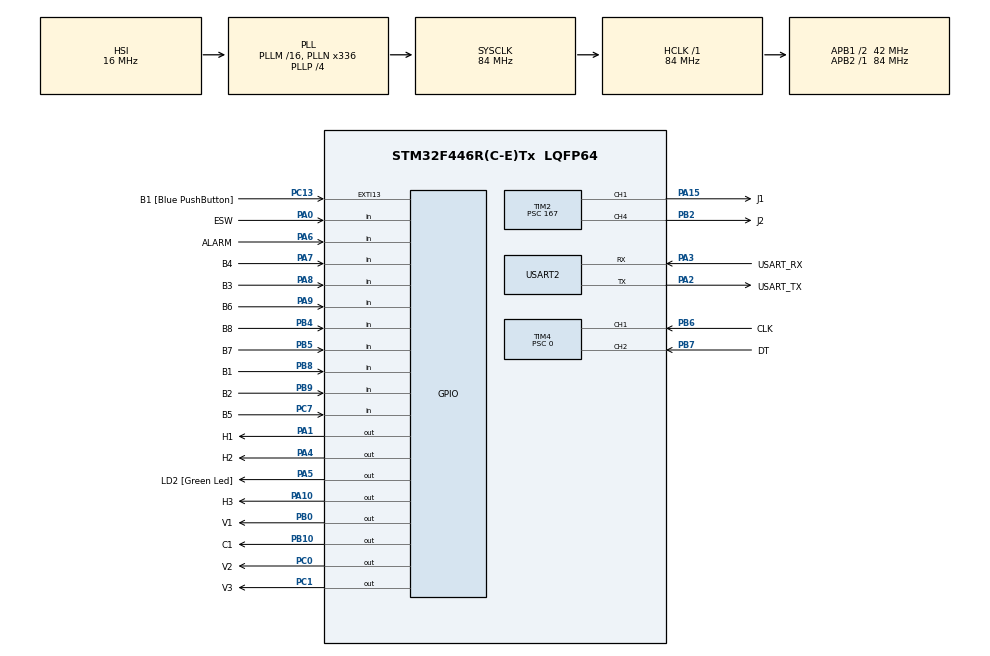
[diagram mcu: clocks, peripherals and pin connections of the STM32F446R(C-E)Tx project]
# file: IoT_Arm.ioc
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Mcu.Family=STM32F4
Mcu.Name=STM32F446R(C-E)Tx
Mcu.Package=LQFP64
NVIC.PriorityGroup=NVIC_PRIORITYGROUP_2
NVIC.TIM1_TRG_COM_TIM11_IRQn=true\:2\:0\:true\:false\:true\:true\:true
NVIC.TIM1_UP_TIM10_IRQn=true\:1\:0\:true\:false\:true\:true\:true
NVIC.USART2_IRQn=true\:0\:0\:true\:false\:true\:true\:true
PA0-WKUP.GPIO_Label=ESW
PA0-WKUP.GPIO_PuPd=GPIO_PULLUP
PA0-WKUP.Signal=GPIO_Input
PA1.GPIO_Label=H1
PA1.GPIO_Speed=GPIO_SPEED_FREQ_VERY_HIGH
PA1.Signal=GPIO_Output
PA10.GPIO_Label=H3
PA10.GPIO_Speed=GPIO_SPEED_FREQ_VERY_HIGH
PA10.Signal=GPIO_Output
PA13.GPIO_Label=TMS
PA13.Mode=Serial_Wire
PA13.Signal=SYS_JTMS-SWDIO
PA14.GPIO_Label=TCK
PA14.Mode=Serial_Wire
PA14.Signal=SYS_JTCK-SWCLK
PA15.GPIO_Label=J1
PA15.Signal=S_TIM2_CH1_ETR
PA2.GPIO_Label=USART_TX
PA2.Mode=Asynchronous
PA2.Signal=USART2_TX
PA3.GPIO_Label=USART_RX
PA3.Mode=Asynchronous
PA3.Signal=USART2_RX
PA4.GPIO_Label=H2
PA4.GPIO_Speed=GPIO_SPEED_FREQ_VERY_HIGH
PA4.Signal=GPIO_Output
PA5.GPIO_Label=LD2 [Green Led]
PA5.Signal=GPIO_Output
PA6.GPIO_Label=ALARM
PA6.GPIO_PuPd=GPIO_NOPULL
PA6.Signal=GPIO_Input
PA7.GPIO_Label=B4
PA7.GPIO_PuPd=GPIO_PULLDOWN
PA7.Signal=GPIO_Input
PA8.GPIO_Label=B3
PA8.GPIO_PuPd=GPIO_PULLDOWN
PA8.Signal=GPIO_Input
PA9.GPIO_Label=B6
PA9.GPIO_PuPd=GPIO_PULLDOWN
PA9.Signal=GPIO_Input
PB0.GPIO_Label=V1
PB0.GPIO_Speed=GPIO_SPEED_FREQ_VERY_HIGH
PB0.PinState=GPIO_PIN_RESET
PB0.Signal=GPIO_Output
PB10.GPIO_Label=C1
PB10.GPIO_ModeDefaultOutputPP=GPIO_MODE_OUTPUT_OD
PB10.Signal=GPIO_Output
PB2.GPIO_Label=J2
PB2.Signal=S_TIM2_CH4
PB3.GPIO_Label=SWO
PB3.Signal=SYS_JTDO-SWO
PB4.GPIO_Label=B8
PB4.GPIO_PuPd=GPIO_PULLDOWN
PB4.Signal=GPIO_Input
PB5.GPIO_Label=B7
PB5.GPIO_PuPd=GPIO_PULLDOWN
PB5.Signal=GPIO_Input
PB6.GPIO_Label=CLK
PB6.Signal=S_TIM4_CH1
PB7.GPIO_Label=DT
PB7.Signal=S_TIM4_CH2
PB8.GPIO_Label=B1
PB8.GPIO_PuPd=GPIO_PULLDOWN
PB8.Signal=GPIO_Input
PB9.GPIO_Label=B2
PB9.GPIO_PuPd=GPIO_PULLDOWN
PB9.Signal=GPIO_Input
PC0.GPIO_Label=V2
PC0.GPIO_Speed=GPIO_SPEED_FREQ_VERY_HIGH
PC0.PinState=GPIO_PIN_RESET
PC0.Signal=GPIO_Output
PC1.GPIO_Label=V3
PC1.GPIO_Speed=GPIO_SPEED_FREQ_VERY_HIGH
PC1.PinState=GPIO_PIN_RESET
PC1.Signal=GPIO_Output
PC13.GPIO_Label=B1 [Blue PushButton]
PC13.GPIO_ModeDefaultEXTI=GPIO_MODE_IT_FALLING
PC13.Signal=GPXTI13
PC14-OSC32_IN.Mode=LSE-External-Oscillator
PC14-OSC32_IN.Signal=RCC_OSC32_IN
PC15-OSC32_OUT.Mode=LSE-External-Oscillator
PC15-OSC32_OUT.Signal=RCC_OSC32_OUT
PC7.GPIO_Label=B5
PC7.GPIO_PuPd=GPIO_PULLDOWN
PC7.Signal=GPIO_Input
PH0-OSC_IN.Mode=HSE-External-Oscillator
PH0-OSC_IN.Signal=RCC_OSC_IN
PH1-OSC_OUT.Mode=HSE-External-Oscillator
PH1-OSC_OUT.Signal=RCC_OSC_OUT
ProjectManager.HeapSize=0x200
ProjectManager.StackSize=0x400
ProjectManager.TargetToolchain=TrueSTUDIO
RCC.48MHZClocksFreq_Value=84000000
RCC.AHBFreq_Value=84000000
RCC.APB1CLKDivider=RCC_HCLK_DIV2
RCC.APB1Freq_Value=42000000
RCC.APB1TimFreq_Value=84000000
RCC.APB2Freq_Value=84000000
RCC.APB2TimFreq_Value=84000000
RCC.CortexFreq_Value=84000000
RCC.FLatency-AdvancedSettings=FLASH_LATENCY_2
RCC.HCLKFreq_Value=84000000
RCC.HSE_VALUE=8000000
RCC.HSI_VALUE=16000000
RCC.PLLN=336
RCC.PLLP=RCC_PLLP_DIV4
RCC.SYSCLKFreq_VALUE=84000000
RCC.SYSCLKSource=RCC_SYSCLKSOURCE_PLLCLK
RCC.USBFreq_Value=168000000
RCC.VCOOutputFreq_Value=336000000
SH.S_TIM2_CH1_ETR.0=TIM2_CH1,PWM Generation1 CH1
SH.S_TIM2_CH4.0=TIM2_CH4,PWM Generation4 CH4
SH.S_TIM4_CH1.0=TIM4_CH1,Encoder_Interface
SH.S_TIM4_CH2.0=TIM4_CH2,Encoder_Interface
TIM10.Period=9999
TIM10.Prescaler=9
TIM11.Period=9999
TIM11.Prescaler=999
TIM2.Channel-PWM\ Generation1\ CH1=TIM_CHANNEL_1
TIM2.Channel-PWM\ Generation4\ CH4=TIM_CHANNEL_4
TIM2.Period=9999
TIM2.Prescaler=167
TIM4.Period=499
TIM4.Prescaler=0
USART2.VirtualMode=VM_ASYNC
VP_TIM10_VS_ClockSourceINT.Mode=Enable_Timer
VP_TIM11_VS_ClockSourceINT.Mode=Enable_Timer
board=NUCLEO-F446RE

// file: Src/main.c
/* USER CODE BEGIN Header */
/**
  ******************************************************************************
  * @file           : main.c
  * @brief          : Main program body
  ******************************************************************************
  * @attention
  *
  * <h2><center>&copy; Copyright (c) 2020 STMicroelectronics.
  * All rights reserved.</center></h2>
  *
  * This software component is licensed by ST under BSD 3-Clause license,
  * the "License"; You may not use this file except in compliance with the
  * License. You may obtain a copy of the License at:
  *                        opensource.org/licenses/BSD-3-Clause
  *
  ******************************************************************************
  */
/* USER CODE END Header */

#include "main.h"
#include "tim.h"
#include "usart.h"
#include "gpio.h"

/* USER CODE BEGIN Includes */
#include <stdio.h>
/* USER CODE END Includes */

/* USER CODE BEGIN PD */
#define H1 GPIO_PIN_1//no GPIOA
#define H2 GPIO_PIN_4//no GPIOA
#define H3 GPIO_PIN_10//no GPIOA
#define V1 GPIO_PIN_0//no GPIOB
#define V2 GPIO_PIN_0//no GPIOC
#define V3 GPIO_PIN_1//no GPIOC
#define C1 GPIO_PIN_10//no GPIOB

#define B1 GPIO_PIN_8//no GPIOB
#define B2 GPIO_PIN_9//no GPIOB
#define B3 GPIO_PIN_8//no GPIOA
#define B4 GPIO_PIN_7//no GPIOA
#define B5 GPIO_PIN_7//no GPIOC
#define B6 GPIO_PIN_9//no GPIOA
#define B7 GPIO_PIN_5//no GPIOB
#define B8 GPIO_PIN_4//no GPIOB
#define ALARM GPIO_PIN_6//no GPIOA

#define ESW GPIO_PIN_0//no GPIOA

#define J1 GPIO_PIN_15//no GPIOA
#define J2 GPIO_PIN_2//no GPIOB

#define JANELA_FECHADA 900
#define JANELA_ABERTA 500
/* USER CODE END PD */

/* USER CODE BEGIN PV */
int  l=0;
uint8_t pos=0, cool=0;
uint8_t lamps[6]={0,0,0,0,0,0}, ap[]={0,0,0,0,0,0,0,0,0,1}, janelas[]={0,0};
uint8_t lastEnc=0, Enc=0, temperatura=30, tempmedida, tstring[2]="  ";
uint8_t MSG[10] = {};

uint8_t rcv[10]="         \n";
uint8_t rx, j=0, g=0;
uint8_t intruder=0;

/* USER CODE END PV */

void SystemClock_Config(void);

int main(void)
{

  /* MCU Configuration--------------------------------------------------------*/

  /* Reset of all peripherals, Initializes the Flash interface and the Systick. */
  HAL_Init();

  /* Configure the system clock */
  SystemClock_Config();

  /* Initialize all configured peripherals */
  MX_GPIO_Init();
  MX_TIM4_Init();
  MX_USART2_UART_Init();
  MX_TIM10_Init();
  MX_TIM11_Init();
  MX_TIM2_Init();
  /* USER CODE BEGIN 2 */
  HAL_GPIO_WritePin(GPIOA, H1, GPIO_PIN_RESET);
  HAL_GPIO_WritePin(GPIOA, H2, GPIO_PIN_RESET);
  HAL_GPIO_WritePin(GPIOA, H3, GPIO_PIN_RESET);
  HAL_GPIO_WritePin(GPIOB, V1, GPIO_PIN_RESET);
  HAL_GPIO_WritePin(GPIOC, V2, GPIO_PIN_RESET);
  HAL_GPIO_WritePin(GPIOC, V3, GPIO_PIN_RESET);
  HAL_GPIO_WritePin(GPIOB, C1, GPIO_PIN_RESET);
  snprintf(MSG, sizeof(MSG), "sta     \n");//informa ao sistema que foi reiniciado
  HAL_UART_Transmit(&huart2, MSG, sizeof(MSG),100);

  HAL_TIM_Base_Start_IT(&htim11);
  HAL_TIM_Base_Start_IT(&htim10);
  HAL_TIM_PWM_Start(&htim2, TIM_CHANNEL_1);
  HAL_TIM_PWM_Start(&htim2, TIM_CHANNEL_4);
  HAL_TIM_Encoder_Start(&htim4, TIM_CHANNEL_ALL);
  HAL_UART_Receive_IT(&huart2, &rx, 1);
  /* USER CODE END 2 */

  /* Infinite loop */
  while (1)
  {

  }
}

void SystemClock_Config(void)
{
  RCC_OscInitTypeDef RCC_OscInitStruct = {0};
  RCC_ClkInitTypeDef RCC_ClkInitStruct = {0};

  /** Configure the main internal regulator output voltage
  */
  __HAL_RCC_PWR_CLK_ENABLE();
  __HAL_PWR_VOLTAGESCALING_CONFIG(PWR_REGULATOR_VOLTAGE_SCALE3);
  /** Initializes the CPU, AHB and APB busses clocks
  */
  RCC_OscInitStruct.OscillatorType = RCC_OSCILLATORTYPE_HSI;
  RCC_OscInitStruct.HSIState = RCC_HSI_ON;
  RCC_OscInitStruct.HSICalibrationValue = RCC_HSICALIBRATION_DEFAULT;
  RCC_OscInitStruct.PLL.PLLState = RCC_PLL_ON;
  RCC_OscInitStruct.PLL.PLLSource = RCC_PLLSOURCE_HSI;
  RCC_OscInitStruct.PLL.PLLM = 16;
  RCC_OscInitStruct.PLL.PLLN = 336;
  RCC_OscInitStruct.PLL.PLLP = RCC_PLLP_DIV4;
  RCC_OscInitStruct.PLL.PLLQ = 2;
  RCC_OscInitStruct.PLL.PLLR = 2;
  if (HAL_RCC_OscConfig(&RCC_OscInitStruct) != HAL_OK)
  {
    Error_Handler();
  }
  /** Initializes the CPU, AHB and APB busses clocks
  */
  RCC_ClkInitStruct.ClockType = RCC_CLOCKTYPE_HCLK|RCC_CLOCKTYPE_SYSCLK
                              |RCC_CLOCKTYPE_PCLK1|RCC_CLOCKTYPE_PCLK2;
  RCC_ClkInitStruct.SYSCLKSource = RCC_SYSCLKSOURCE_PLLCLK;
  RCC_ClkInitStruct.AHBCLKDivider = RCC_SYSCLK_DIV1;
  RCC_ClkInitStruct.APB1CLKDivider = RCC_HCLK_DIV2;
  RCC_ClkInitStruct.APB2CLKDivider = RCC_HCLK_DIV1;

  if (HAL_RCC_ClockConfig(&RCC_ClkInitStruct, FLASH_LATENCY_2) != HAL_OK)
  {
    Error_Handler();
  }
}

/* USER CODE BEGIN 4 */
void conv_temp(){//converte o valor em caracteres da temperatura para um valor inteiro
	tempmedida=0;
	tempmedida+=(tstring[1]-48);
	tempmedida+=(tstring[0]-48)*10;
}
void HAL_UART_RxCpltCallback(UART_HandleTypeDef *huart){
	rcv[j]=rx;
	j++;
	if(j==10)j=0;
	if(rx==13){
		snprintf(rcv, sizeof(rcv), "          ");//"limpa" o vetor de recepção
		j=0;//zera a posição do vetor de recepção
	}

	if(rcv[0]=='l'){//para as lâmpadas
		if(rcv[6]=='0'||rcv[6]=='3'){
			for(g=0;g<7;g++){
				if(rcv[g+1]=='0')lamps[g]=0;
				if(rcv[g+1]=='3')lamps[g]=1;
			}
			snprintf(rcv, sizeof(rcv), "          ");//"limpa" o vetor de recepção
			j=0;//zera a posição do vetor de recepção
		}
	}
	if(rcv[0]=='j'){//para as janelas
		if(rcv[2]== '0'||rcv[2]=='1'){
			if(rcv[1]=='0')janelas[0]=0;
			if(rcv[1]=='1')janelas[0]=1;
			if(rcv[2]=='0')janelas[1]=0;
			if(rcv[2]=='1')janelas[1]=1;
			snprintf(rcv, sizeof(rcv), "          ");//"limpa" o vetor de recepção
			j=0;//zera a posição do vetor de recepção
		}
	}
	if(rcv[0]=='t'){//referente à temperatura
		if(rcv[1]>=48&&rcv[2]>=48){
			tstring[0]=rcv[1];
			tstring[1]=rcv[2];
			conv_temp();
			if(tempmedida>=temperatura){
				cool=1;//liga o cooler quando a temperatura medida é maior que a temperatura configurada
			}
			else if(tempmedida<temperatura){
				cool=0;
			}
			snprintf(rcv, sizeof(rcv), "          ");//"limpa" o vetor de recepção
			j=0;//zera a posição do vetor de recepção
		}
	}
	if(rcv[0]=='i'&&rcv[1]=='0'){//referente à segurança ou intruso
		intruder=0;
	}
	HAL_UART_Receive_IT(&huart2, &rx, 1);//reinicia a recepção de valores pela serial
}
void HAL_TIM_PeriodElapsedCallback(TIM_HandleTypeDef *htim){
	if(htim==&htim11 && intruder==0){
		if(HAL_GPIO_ReadPin (GPIOB, B1)&&ap[0]==0){
			lamps[0]=!lamps[0], ap[0]=1;
			if(lamps[0]==1)snprintf(MSG, sizeof(MSG), "l11     \n");//envia o estado da lâmpada
			if(lamps[0]==0)snprintf(MSG, sizeof(MSG), "l10     \n");
			HAL_UART_Transmit_IT(&huart2, MSG, sizeof(MSG));
		}
		if(!HAL_GPIO_ReadPin (GPIOB, B1))ap[0]=0;

		if(HAL_GPIO_ReadPin (GPIOB, B2)&&ap[1]==0){
			lamps[1]=!lamps[1], ap[1]=1;
			if(lamps[1]==1)snprintf(MSG, sizeof(MSG), "l21     \n");//envia o estado da lâmpada
			if(lamps[1]==0)snprintf(MSG, sizeof(MSG), "l20     \n");
			HAL_UART_Transmit_IT(&huart2, MSG, sizeof(MSG));
		}
		if(!HAL_GPIO_ReadPin (GPIOB, B2))ap[1]=0;

		if(HAL_GPIO_ReadPin (GPIOA, B3)&&ap[2]==0){
			lamps[2]=!lamps[2], ap[2]=1;
			if(lamps[2]==1)snprintf(MSG, sizeof(MSG), "l31     \n");//envia o estado da lâmpada
			if(lamps[2]==0)snprintf(MSG, sizeof(MSG), "l30     \n");
			HAL_UART_Transmit_IT(&huart2, MSG, sizeof(MSG));
		}
		if(!HAL_GPIO_ReadPin (GPIOA, B3))ap[2]=0;

		if(HAL_GPIO_ReadPin (GPIOA, B4)&&ap[3]==0){
			lamps[3]=!lamps[3], ap[3]=1;
			if(lamps[3]==1)snprintf(MSG, sizeof(MSG), "l41     \n");//envia o estado da lâmpada
			if(lamps[3]==0)snprintf(MSG, sizeof(MSG), "l40     \n");
			HAL_UART_Transmit_IT(&huart2, MSG, sizeof(MSG));
		}
		if(!HAL_GPIO_ReadPin (GPIOA, B4))ap[3]=0;

		if(HAL_GPIO_ReadPin (GPIOC, B5)&&ap[4]==0){
			lamps[4]=!lamps[4], ap[4]=1;
			if(lamps[4]==1)snprintf(MSG, sizeof(MSG), "l51     \n");//envia o estado da lâmpada
			if(lamps[4]==0)snprintf(MSG, sizeof(MSG), "l50     \n");
			HAL_UART_Transmit_IT(&huart2, MSG, sizeof(MSG));
		}
		if(!HAL_GPIO_ReadPin (GPIOC, B5)) ap[4]=0;

		if(HAL_GPIO_ReadPin (GPIOA, B6)&&ap[5]==0){
			lamps[5]=!lamps[5], ap[5]=1;
			if(lamps[5]==1)snprintf(MSG, sizeof(MSG), "l61     \n");//envia o estado da lâmpada
			if(lamps[5]==0)snprintf(MSG, sizeof(MSG), "l60     \n");
			HAL_UART_Transmit_IT(&huart2, MSG, sizeof(MSG));
		}
		if(!HAL_GPIO_ReadPin (GPIOA, B6))ap[5]=0;

		if(HAL_GPIO_ReadPin (GPIOB, B7)&&ap[6]==0){
			janelas[0]=!janelas[0], ap[6]=1;
			if(janelas[0]==1)snprintf(MSG, sizeof(MSG), "j11     \n");//envia o estado da janela
			if(janelas[0]==0)snprintf(MSG, sizeof(MSG), "j10     \n");
			HAL_UART_Transmit_IT(&huart2, MSG, sizeof(MSG));
		}
		if(!HAL_GPIO_ReadPin (GPIOB, B7))ap[6]=0;

		if(HAL_GPIO_ReadPin (GPIOB, B8)&&ap[7]==0){
			janelas[1]=!janelas[1], ap[7]=1;
			if(janelas[1]==1)snprintf(MSG, sizeof(MSG), "j21     \n");//envia o estado da janela
			if(janelas[1]==0)snprintf(MSG, sizeof(MSG), "j20     \n");
			HAL_UART_Transmit_IT(&huart2, MSG, sizeof(MSG));
		}
		if(!HAL_GPIO_ReadPin (GPIOB, B8))ap[7]=0;

		if(!HAL_GPIO_ReadPin (GPIOA, ALARM)&&ap[9]==0){
			ap[9]=1;
			intruder=1;
			snprintf(MSG, sizeof(MSG), "i1      \n\r");//avisa que há um intruso
			HAL_UART_Transmit_IT(&huart2, MSG, sizeof(MSG));
		}
		if(HAL_GPIO_ReadPin (GPIOA, ALARM))ap[9]=0;
	}

	if(htim==&htim10){
		//ajusta a temperatura na qual se quer que ligue o cooler com o encoder
		Enc=(TIM4->CNT)>>2;
		if(Enc==0&&lastEnc==124) {
			if(temperatura!=0)temperatura--;
		}
		if(Enc==124&&lastEnc==0){
			if(temperatura!=70)temperatura++;
		}
		else{
			if(Enc-lastEnc<0&&temperatura!=0)temperatura+=Enc-lastEnc;
			if(Enc-lastEnc>0&&temperatura!=70)temperatura+=Enc-lastEnc;
		}

		if(tempmedida>=temperatura){
			cool=1;//liga o cooler quando a temperatura medida é maior que a temperatura configurada
		}
		else if(tempmedida<temperatura){
			cool=0;
		}

		//multiplexação das lâmpadas
		if(pos==0){
			if(lamps[0]==1)HAL_GPIO_WritePin(GPIOA, H1, GPIO_PIN_SET);
			if(lamps[0]==0)HAL_GPIO_WritePin(GPIOA, H1, GPIO_PIN_RESET);
			if(lamps[3]==1)HAL_GPIO_WritePin(GPIOA, H2, GPIO_PIN_SET);
			if(lamps[3]==0)HAL_GPIO_WritePin(GPIOA, H2, GPIO_PIN_RESET);
			HAL_GPIO_WritePin(GPIOA, H3, GPIO_PIN_RESET);
			HAL_GPIO_WritePin(GPIOB, V1, GPIO_PIN_RESET);
			HAL_GPIO_WritePin(GPIOC, V2, GPIO_PIN_SET);
			HAL_GPIO_WritePin(GPIOC, V3, GPIO_PIN_SET);
		}
		if(pos==1){
			if(lamps[1]==1)HAL_GPIO_WritePin(GPIOA, H1, GPIO_PIN_SET);
			if(lamps[1]==0)HAL_GPIO_WritePin(GPIOA, H1, GPIO_PIN_RESET);
			if(lamps[4]==1)HAL_GPIO_WritePin(GPIOA, H2, GPIO_PIN_SET);
			if(lamps[4]==0)HAL_GPIO_WritePin(GPIOA, H2, GPIO_PIN_RESET);
			if(HAL_GPIO_ReadPin(GPIOA, ESW))ap[8]=0;
			if(!HAL_GPIO_ReadPin (GPIOA, ESW)&&ap[8]==0)cool=!cool,ap[8]=1;
			if(janelas[0]==1){
				//liga o led que representa a janela 1 e altera o valor de PWM para o Servomotor
				HAL_GPIO_WritePin(GPIOA, H3, GPIO_PIN_SET);
				__HAL_TIM_SET_COMPARE(&htim2, TIM_CHANNEL_1, JANELA_ABERTA);
			}
			if(janelas[0]==0){
				HAL_GPIO_WritePin(GPIOA, H3, GPIO_PIN_RESET);
				__HAL_TIM_SET_COMPARE(&htim2, TIM_CHANNEL_1, JANELA_FECHADA);
			}
			if(cool==1) HAL_GPIO_WritePin(GPIOB, C1, GPIO_PIN_SET);//liga o cooler

			if(cool==0) HAL_GPIO_WritePin(GPIOB, C1, GPIO_PIN_RESET);//desliga o cooler

			HAL_GPIO_WritePin(GPIOB, V1, GPIO_PIN_SET);
			HAL_GPIO_WritePin(GPIOC, V2, GPIO_PIN_RESET);
			HAL_GPIO_WritePin(GPIOC, V3, GPIO_PIN_SET);
		}
		if(pos==2){
			if(lamps[2]==1)HAL_GPIO_WritePin(GPIOA, H1, GPIO_PIN_SET);
			if(lamps[2]==0)HAL_GPIO_WritePin(GPIOA, H1, GPIO_PIN_RESET);
			if(lamps[5]==1)HAL_GPIO_WritePin(GPIOA, H2, GPIO_PIN_SET);
			if(lamps[5]==0)HAL_GPIO_WritePin(GPIOA, H2, GPIO_PIN_RESET);

			if(janelas[1]==1){
				//liga o led que representa a janela 2 e altera o valor de PWM para o Servomotor
				HAL_GPIO_WritePin(GPIOA, H3, GPIO_PIN_SET);
				__HAL_TIM_SET_COMPARE(&htim2, TIM_CHANNEL_1, JANELA_ABERTA);
			}
			if(janelas[1]==0){
				HAL_GPIO_WritePin(GPIOA, H3, GPIO_PIN_RESET);
				__HAL_TIM_SET_COMPARE(&htim2, TIM_CHANNEL_4, JANELA_FECHADA);
			}
			HAL_GPIO_WritePin(GPIOB, V1, GPIO_PIN_SET);
			HAL_GPIO_WritePin(GPIOC, V2, GPIO_PIN_SET);
			HAL_GPIO_WritePin(GPIOC, V3, GPIO_PIN_RESET);
		}
		pos++;
		if(pos==3)pos=0;
	}
	lastEnc=Enc;
}
/* USER CODE END 4 */

void Error_Handler(void)
{
}

/************************ (C) COPYRIGHT STMicroelectronics *****END OF FILE****/
